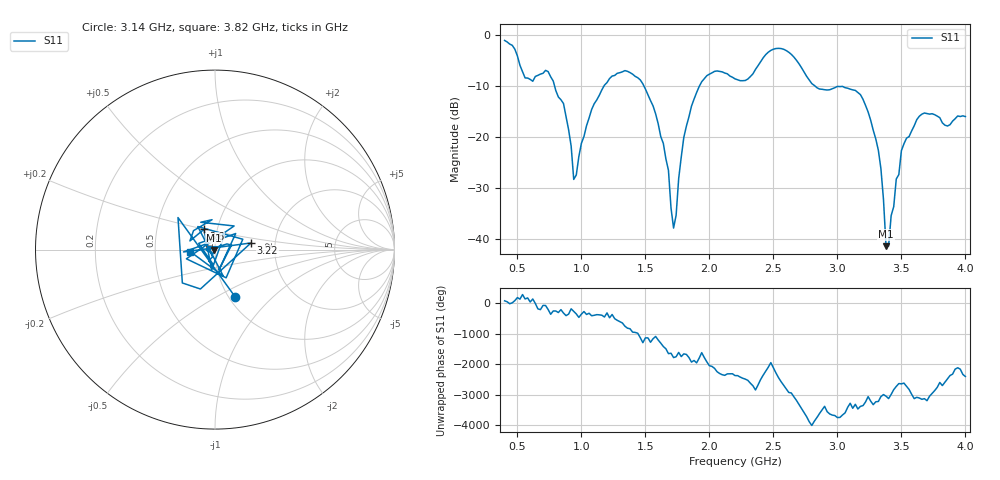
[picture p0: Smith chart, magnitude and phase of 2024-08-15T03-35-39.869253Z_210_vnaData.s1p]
!Created with skrf (http://scikit-rf.org).
# Hz S RI R 50.0
!freq ReS11 ImS11
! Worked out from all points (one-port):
!   181 points, 400 MHz to 4 GHz, reference 50 ohm
!   lowest |S11| = -41.4 dB at 3.38 GHz (marker M1), VSWR 1.02, Z = 49.2 - j0.26 ohm
!   |S11| at or under -10 dB: 790.4 MHz to 1.177 GHz (386.2 MHz wide, 39.3 % of centre); 1.488 GHz to 1.922 GHz (434.1 MHz wide, 25.5 % of centre); 2.825 GHz to end of sweep
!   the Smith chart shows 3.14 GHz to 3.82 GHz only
!   S11 on the Smith chart (normalised r, x): 3.14 GHz: 1.07, -0.61; 3.22 GHz: 1.50, +0.12; 3.6 GHz: 0.86, +0.20; 3.82 GHz: 0.76, -0.02
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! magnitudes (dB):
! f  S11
! 400 MHz  -1.1
! 560 MHz  -8.4
! 740 MHz  -7.2
! 860 MHz  -13.4
! 940 MHz  -28.3
! 1.08 GHz  -14.6
! 1.3 GHz  -7.4
! 1.56 GHz  -13.9
! 1.68 GHz  -26.5
! 1.72 GHz  -37.9
! 1.76 GHz  -28.2
! 1.82 GHz  -17.9
! 1.94 GHz  -9.2
! 2.2 GHz  -8.6
! 2.5 GHz  -2.8
! 2.66 GHz  -4.3
! 2.84 GHz  -10.3
! 3.1 GHz  -10.6
! 3.14 GHz  -10.9
! 3.22 GHz  -13.8
! 3.32 GHz  -22.6
! 3.38 GHz  -41.4
! 3.4 GHz  -41.4
! 3.5 GHz  -22.7
! 3.56 GHz  -19.9
! 3.6 GHz  -17.8
! 3.82 GHz  -17.2
! 4 GHz  -16.0
